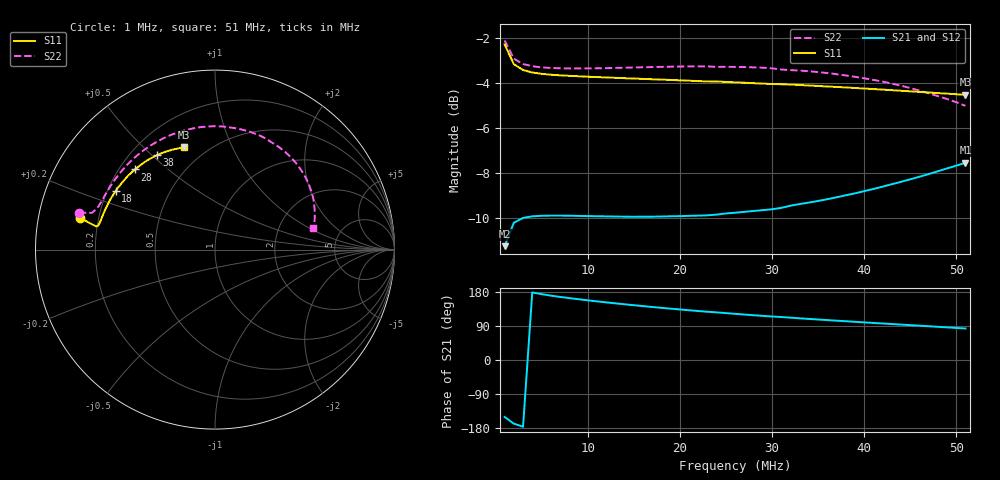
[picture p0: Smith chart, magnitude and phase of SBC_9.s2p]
# MHz S RI R 50
! S-Parameters data
! Freq  reS11  imS11  reS21  imS21  reS12  imS12  reS22  imS22
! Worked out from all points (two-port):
!   51 points, 1 MHz to 51 MHz, reference 50 ohm
!   highest |S21| = -7.54 dB at 51 MHz (marker M1); lowest = -11.2 dB at 1 MHz (marker M2)
!   |S21| within 3 dB of the highest: 1.68 MHz to end of sweep
!   lowest |S11| = -4.5 dB at 51 MHz (marker M3), VSWR 3.93, Z = 19.1 + j33.5 ohm
!   |S11| at or under -10 dB: nowhere
!   |S22| runs from -5.0 to -2.1 dB; largest |S21 - S12| = 0.00041
!   S11 on the Smith chart (normalised r, x): 1 MHz: 0.13, +0.11; 18 MHz: 0.23, +0.26; 28 MHz: 0.26, +0.39; 38 MHz: 0.31, +0.52; 51 MHz: 0.38, +0.67
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1  -0.7494 0.1752  -0.2383 -0.1351  -0.2383 -0.135  -0.7577 0.2051
2  -0.6813 0.1389  -0.3019 -0.0648  -0.302 -0.0645  -0.6853 0.2049
3  -0.6622 0.1291  -0.3159 -0.0208  -0.3158 -0.0206  -0.6572 0.2289
4  -0.6531 0.1319  -0.319 0.00998  -0.3188 0.0103  -0.6355 0.2633
6  -0.6409 0.1523  -0.3154 0.0556  -0.3154 0.0558  -0.5902 0.3416
8  -0.6299 0.1797  -0.3068 0.0914  -0.3067 0.0917  -0.5359 0.4191
10  -0.6175 0.2096  -0.2953 0.122  -0.2953 0.1223  -0.4724 0.4896
12  -0.6036 0.24  -0.2821 0.149  -0.2819 0.1493  -0.4015 0.5504
14  -0.5881 0.27  -0.2674 0.1731  -0.2673 0.1733  -0.3253 0.6001
16  -0.5712 0.299  -0.2518 0.1951  -0.2519 0.1949  -0.2448 0.6391
18  -0.5529 0.3272  -0.2358 0.2146  -0.2358 0.2143  -0.1633 0.666
20  -0.5333 0.354  -0.2195 0.232  -0.2195 0.232  -0.0822 0.682
22  -0.5125 0.3792  -0.2029 0.2478  -0.2029 0.2477  -0.00223 0.6874
26  -0.4688 0.4261  -0.1713 0.2762  -0.1713 0.2761  0.1465 0.6697
28  -0.4453 0.4467  -0.155 0.289  -0.1549 0.2888  0.215 0.6493
31  -0.4103 0.4746  -0.1324 0.3057  -0.1324 0.3056  0.307 0.6028
35  -0.3602 0.507  -0.1001 0.3304  -0.1003 0.3302  0.4076 0.5289
38  -0.3229 0.526  -0.0758 0.3471  -0.0758 0.3469  0.4675 0.4607
41  -0.2858 0.5413  -0.05 0.3636  -0.05 0.3635  0.5126 0.3859
43  -0.2617 0.5496  -0.0321 0.3746  -0.0323 0.3743  0.5339 0.3336
47  -0.2154 0.5615  0.00616 0.396  0.00616 0.396  0.5549 0.2262
51  -0.1721 0.5688  0.0502 0.4168  0.0501 0.4164  0.5488 0.1201
